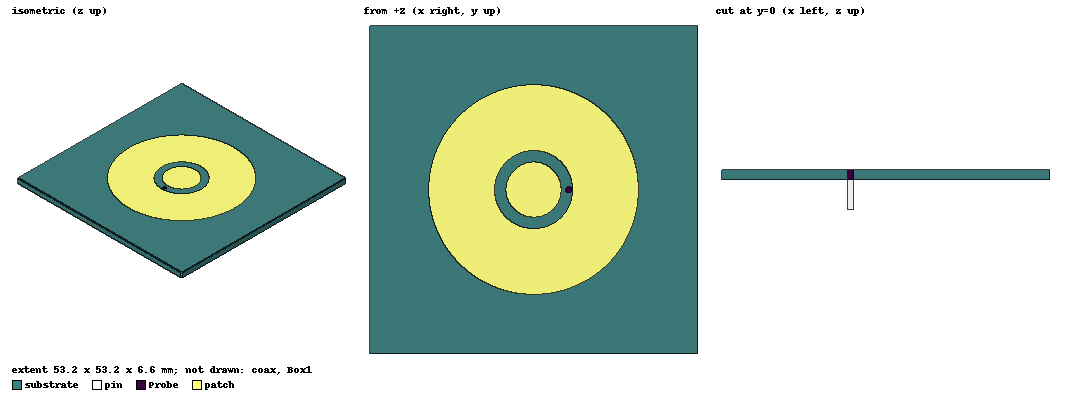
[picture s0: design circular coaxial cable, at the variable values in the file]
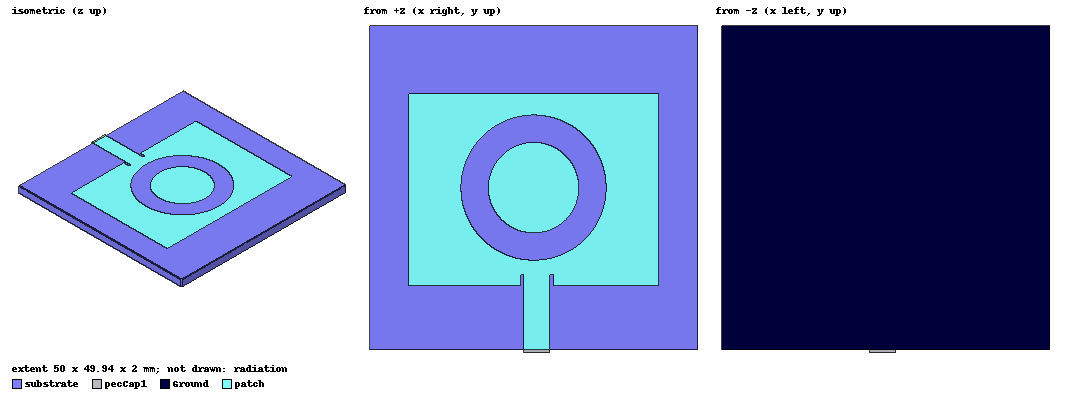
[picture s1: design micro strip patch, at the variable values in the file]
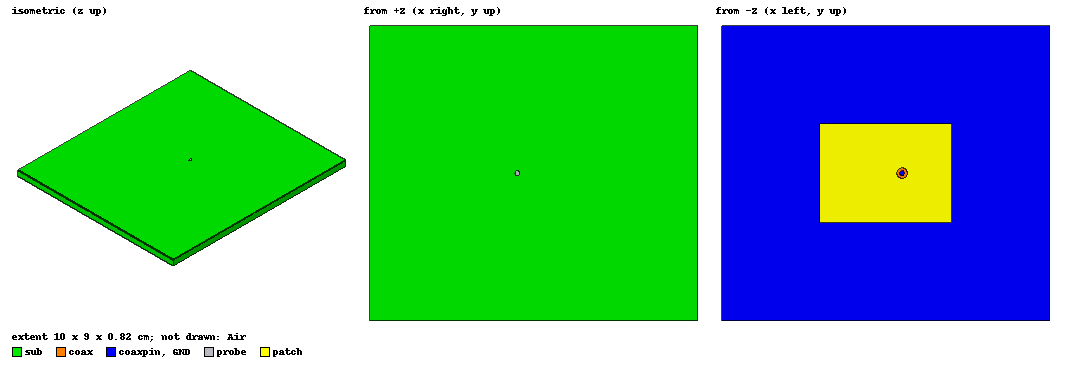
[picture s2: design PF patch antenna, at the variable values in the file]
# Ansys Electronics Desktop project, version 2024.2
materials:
  vacuum: permittivity=1
  perfect conductor: conductivity=1e+30
  FR4_epoxy: permittivity=4.4 dielectric_loss_tangent=0.02
  pec: conductivity=1e+30
  air: permittivity=1.0006 permeability=1.0000004
  Rogers RT/duroid 5880 (tm): permittivity=2.2 dielectric_loss_tangent=0.0009
  polyethylene: permittivity=2.25 dielectric_loss_tangent=0.001

design circular coaxial cable (HFSS, HFSS Hybrid Terminal Network, model units mm)
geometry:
  patch = circle(normal=Z, centre=(0mm, 0mm, 0mm), radius=17mm)
  Ground = rectangle(corner=(26.6mm, 26.6mm, -1.6mm), x_size=-53.2mm, y_size=-53.2mm)
  substrate [FR4_epoxy] = box(corner=(26.6mm, 26.6mm, -1.6mm), size=(-53.2mm, -53.2mm, 1.6mm))
  Ground_Cut_out = circle(normal=Z, centre=(5.7mm, 0mm, -1.6mm), radius=1mm)
  Ground.subtract(Ground_Cut_out)
  Probe [pec] = cylinder(axis=Z, base_centre=(5.7mm, 0mm, -1.6mm), radius=0.5mm, height=1.6mm)
  pin [pec] = cylinder(axis=Z, base_centre=(5.7mm, 0mm, -1.6mm), radius=0.5mm, height=-5mm)
  coax [vacuum] = cylinder(axis=Z, base_centre=(5.7mm, 0mm, -1.6mm), radius=1mm, height=-5mm)
  source = circle(normal=Z, centre=(5.7mm, 0mm, -6.6mm), radius=1mm)
  Box1 [vacuum] = box(corner=(26.6mm, -26.6mm, 0mm), size=(-53.2mm, 53.2mm, 20mm))
  slot = circle(normal=Z, centre=(0mm, 0mm, 0mm), radius=6.3245553mm)
  slot1 = circle(normal=Z, centre=(0mm, 0mm, 0mm), radius=4.472136mm)
  slot.subtract(slot1)
  patch.subtract(slot)
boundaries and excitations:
  Ground: Perfect E Objects=Ground
  patch: Perfect E Objects=patch
  Rad1: Radiation Faces=Box1.face(+z, -y, -x, +y, +x)
  1: Wave Port Objects=source WavePortType=Modal NumModes=1 Modes{Mode1{CharImp=Zpi}}
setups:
  Setup1: HfssDriven Frequency=5GHz MaxDeltaS=0.02 MaximumPasses=20 MinimumPasses=1 MinimumConvergedPasses=1 PercentRefinement=30 BasisOrder=1 PortAccuracy=2 DrivenSolverType="Direct Solver"
    sweep Sweep: 1.5GHz to 3.5GHz, 201 points; Type=Interpolating SaveFields InterpTolerance=0.5 InterpMaxSolns=250 PassivityErrorTolerance=0.0001
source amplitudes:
  1:1: 1V 0deg
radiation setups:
  Infinite Sphere1: Infinite Sphere Theta=-180deg..180deg step 2deg Phi=-180deg..180deg step 2deg
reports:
  Terminal S Parameter Plot 1: dB(St(1,1)) vs Freq on Setup1 : Sweep
  Gamma Plot 1: im(Gamma(1)) vs Freq on Setup1 : Sweep

design micro strip patch (HFSS, HFSS Terminal Network, model units mm)
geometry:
  patch = rectangle(corner=(-19.01mm, -14.64mm, 0mm), x_size=38.03mm, y_size=29.28mm)
  Rectangle2 = rectangle(corner=(-2mm, -13mm, 0mm), x_size=5mm, y_size=-5mm)
  patch.subtract(Rectangle2)
  Rectangle3 = rectangle(corner=(-1.5mm, -13mm, 0mm), x_size=4mm, y_size=-11.5mm)
  patch.unite(Rectangle3)
  substrate [FR4_epoxy] = box(corner=(-25mm, 25mm, 0mm), size=(50mm, -49.5mm, -2mm))
  Ground = rectangle(corner=(25mm, -24.5mm, -2mm), x_size=-50mm, y_size=49.5mm)
  source = rectangle(corner=(-1.5mm, -24.5mm, 0mm), z_size=-2mm, x_size=4mm)
  radiation [air] = box(corner=(-35mm, 35mm, 10mm), size=(70mm, -70mm, -20mm))
  pecCap1 [pec] = sweep_along_normal(source.face(at (0.5, -24.5, -1)), length=0.44mm)
  slot1 = circle(normal=Z, centre=(0mm, 0.25mm, 0mm), radius=11.070795mm)
  slot2 = circle(normal=Z, centre=(0mm, 0.25mm, 0mm), radius=6.8965571mm)
  slot1.subtract(slot2)
  patch.subtract(slot1)
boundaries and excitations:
  Rad1: Radiation Objects=radiation
  Ground: Perfect E Objects=Ground
  patch: Perfect E Objects=patch
  1: Wave Port Objects=source WavePortType=Modal NumModes=1 Modes{Mode1{IntLine{(0.5, -24.5, -1) -> (0.5, -24.5, 0)} CharImp=Zpi}}
  reference conductors: Ground
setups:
  Setup1: HfssDriven Frequency=2.4GHz MaxDeltaS=0.02 MaximumPasses=10 MinimumPasses=1 MinimumConvergedPasses=1 PercentRefinement=30 BasisOrder=1 PortAccuracy=2 DrivenSolverType="Direct Solver"
    sweep Sweep: 1GHz to 3.5GHz step 0.1GHz; Type=Fast SaveFields
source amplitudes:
  1:1: 1V 0deg
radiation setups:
  Infinite Sphere1: Infinite Sphere Theta=0deg..180deg step 2deg Phi=-180deg..180deg step 2deg
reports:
  Terminal S Parameter Plot 1: dB(St(1,1)) vs Freq on Setup1 : Sweep; markers m1 at 2.0551811GHz, m2 at 2.4GHz, m3 at 2.0542927GHz, m4 at 2.4GHz
  Gain Plot 1: dB(GainTotal) vs Phi, Theta on Setup1 : LastAdaptive, Infinite Sphere1 [Freq=2.4GHz]
  rE Plot 1: dB(rETotal) vs Theta on Setup1 : LastAdaptive, Infinite Sphere1 [Phi=all Freq=2.4GHz]

design HFSSDesign1 (HFSS, Characteristic Mode, model units mm)
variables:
  a = 38mm
  b = 29mm
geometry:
  Rectangle1 = rectangle(corner=(-a/2, -b/2, 0mm), x_size=a, y_size=b)
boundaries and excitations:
  PerfE1: Perfect E Objects=Rectangle1
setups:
  Setup1: HfssCMA ModalSignificance=0.02 MaxDeltaE=0.02 AdaptiveFreq=2.4GHz MaximumPasses=3 MinimumPasses=1 MinimumConvergedPasses=1 PercentRefinement=30 BasisOrder=0
    sweep Sweep: 1GHz to 5GHz step 1GHz; Type=Discrete
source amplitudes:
  #-10:1: 1 0deg
  #-10:2..#-10:10: 0 0deg

design PF patch antenna (HFSS, HFSS Terminal Network, model units cm)
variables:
  a = 10cm
  b = 9cm
  h = 0.32cm
  p = 0.5cm
  r1 = 0.16cm
  q = 4cm
  t = 3cm
  r2 = 0.07cm
  d = 3.32cm
  k = 0.07cm
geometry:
  sub [Rogers RT/duroid 5880 (tm)] = box(corner=(-a/2, -b/2, 0cm), size=(a, b, h))
  GND = rectangle(corner=(-a/2, -b/2, 0), x_size=a, y_size=b)
  cutout = circle(normal=Z, centre=(-p, 0cm, 0cm), radius=r1)
  GND.subtract(cutout)
  patch = rectangle(corner=(-q/2, -t/2, 0), x_size=q, y_size=t)
  coax [polyethylene] = cylinder(axis=Z, base_centre=(-p, 0cm, 0cm), radius=r1, height=-p)
  coaxpin [pec] = cylinder(axis=Z, base_centre=(-p, 0cm, 0cm), radius=r2, height=-p)
  probe [pec] = cylinder(axis=Z, base_centre=(-0.5cm, 0cm, 0cm), radius=0.07cm, height=h)
  Air [air] = box(corner=(-a/2, -b/2, 0cm), size=(a, b, 3.32cm))
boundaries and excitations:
  PerfE1: Perfect E Objects=patch
  PerfE2: Perfect E Objects=GND
  Rad1: Radiation Faces=Air.face(+z, -y, -x, +y, +x)
  coaxpin_T1: Terminal port=1 Faces=coaxpin.face(-z end) TerminalResistance=50ohm
  1: Wave Port Faces=coax.face(-z end) WavePortType=Terminal NumModes=1
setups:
  Setup1: HfssDriven Frequency=2.25GHz MaxDeltaS=0.02 MaximumPasses=20 MinimumPasses=1 MinimumConvergedPasses=1 PercentRefinement=30 BasisOrder=1 PortAccuracy=2 DrivenSolverType="Direct Solver"
    sweep Sweep: 1GHz to 3.5GHz, 201 points; Type=Fast SaveFields
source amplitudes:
  1:1: 1V 0deg
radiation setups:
  Infinite Sphere1: Infinite Sphere Theta=-180deg..180deg step 2deg Phi=0deg..90deg step 90deg
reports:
  Terminal S Parameter Plot 1: dB(St(coaxpin_T1,coaxpin_T1)) vs Freq on Setup1 : Sweep
